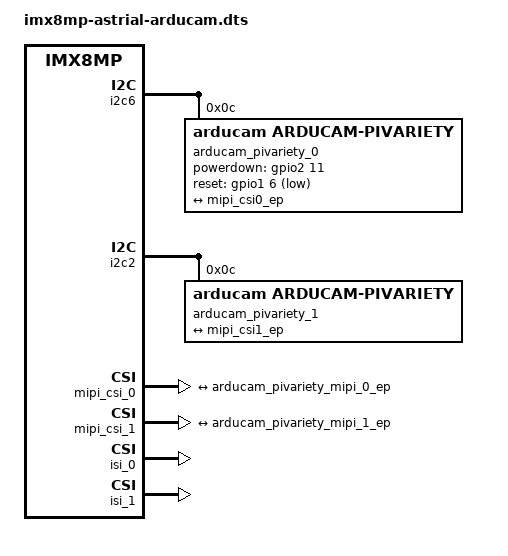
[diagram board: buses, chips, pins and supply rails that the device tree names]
// SPDX-License-Identifier: (GPL-2.0+ OR MIT)
/*
 * Copyright 2019 NXP
 * Copyright 2024 Koan Software
 */

/dts-v1/;

#include "imx8mp-astrial-base.dtsi"

/delete-node/ &imx219_0;
/delete-node/ &imx219_1;

&iomuxc {
	pinctrl-0 = <
		&pinctrl_hog
		&pinctrl_gpio_flexcan2
		&pinctrl_gpio_spi2
		&pinctrl_gpio_uart3
		&pinctrl_gpio_sdhc1
	>;
};

&i2c6 {
    arducam_pivariety_0: arducam_pivariety_mipi@c {
        compatible = "arducam,arducam-pivariety";
        reg = <0x0c>;
        pinctrl-0 = <&pinctrl_csi0_rst>, <&pinctrl_csi_mclk>;
        clocks = <&clk IMX8MP_CLK_IPP_DO_CLKO2>;
        clock-names = "xclk";
        assigned-clocks = <&clk IMX8MP_CLK_IPP_DO_CLKO2>;
        assigned-clock-parents = <&clk IMX8MP_CLK_24M>;
        assigned-clock-rates = <24000000>;
        csi_id = <0>;
        powerdown-gpios = <&gpio2 11 GPIO_ACTIVE_HIGH>;
        reset-gpios = <&gpio1 6 GPIO_ACTIVE_LOW>;
        mclk = <24000000>;
        mclk_source = <0>;
        mipi_csi;
        status = "okay";

        port {
            arducam_pivariety_mipi_0_ep: endpoint {
                remote-endpoint = <&mipi_csi0_ep>;
                data-lanes = <1 2>;
                clock-lanes = <0>;
			};
		};
	};

};

&i2c2 {
	arducam_pivariety_1: arducam_pivariety_mipi@c {
		compatible = "arducam,arducam-pivariety";
		reg = <0x0c>;
		pinctrl-0 = <&pinctrl_csi0_rst>, <&pinctrl_csi_mclk>;
		clocks = <&clk IMX8MP_CLK_IPP_DO_CLKO2>;
		clock-names = "xclk";
		assigned-clocks = <&clk IMX8MP_CLK_IPP_DO_CLKO2>;
		assigned-clock-parents = <&clk IMX8MP_CLK_24M>;
		assigned-clock-rates = <24000000>;
		csi_id = <1>;
		// powerdown-gpios = <&gpio4 1 GPIO_ACTIVE_HIGH>;
		// reset-gpios = <&gpio4 0 GPIO_ACTIVE_LOW>;
		mclk = <24000000>;
		mclk_source = <0>;
		mipi_csi;
		status = "okay";

		port {
			arducam_pivariety_mipi_1_ep: endpoint {
				remote-endpoint = <&mipi_csi1_ep>;
				data-lanes = <1 2>;
				clock-lanes = <0>;
            };
        };
    };
};

&mipi_csi_0 {
    port@0 {
        reg = <0>;
        mipi_csi0_ep: endpoint {
            remote-endpoint = <&arducam_pivariety_mipi_0_ep>;
            data-lanes = <2>;
            csis-hs-settle = <30>;
            csis-clk-settle = <2>;
            csis-wclk;
        };
    };
};

&mipi_csi_1 {
    port@1 {
        reg = <1>;
        mipi_csi1_ep: endpoint {
            remote-endpoint = <&arducam_pivariety_mipi_1_ep>;
            data-lanes = <2>;
            csis-hs-settle = <30>;
            csis-clk-settle = <2>;
            csis-wclk;
        };
    };
};

&isp_0 {
    status = "disabled";
};

&isp_1 {
    status = "disabled";
};

&dewarp {
    status = "disabled";
};



&isi_0 {
    status = "okay";

    cap_device {
        status = "okay";
    };

    m2m_device {
        status = "okay";
    };
};

&isi_1 {
    status = "okay";

    cap_device {
        status = "okay";
    };

    m2m_device {
        status = "okay";
    };
};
